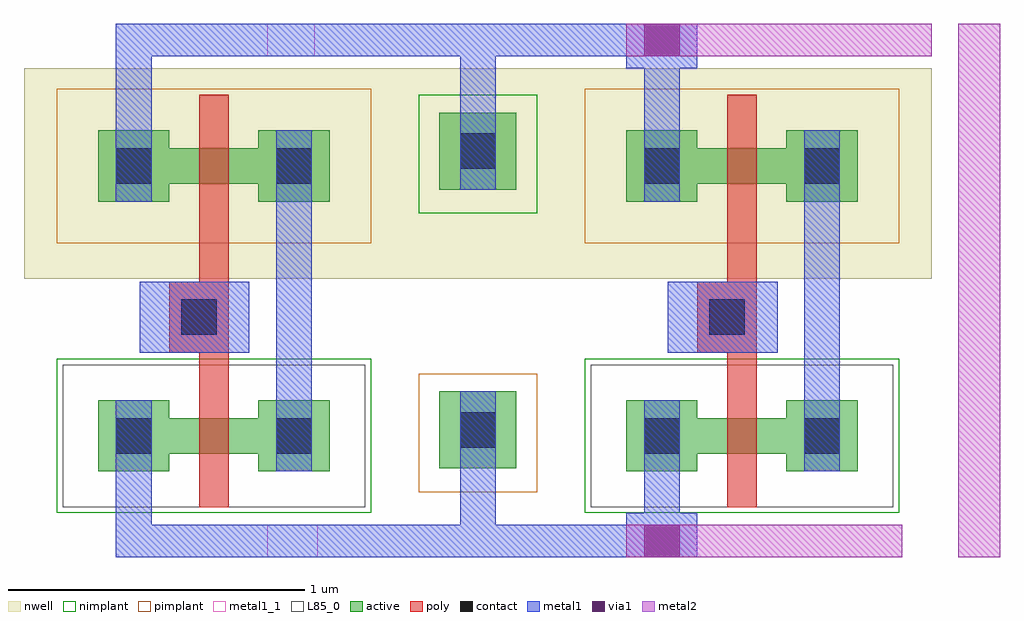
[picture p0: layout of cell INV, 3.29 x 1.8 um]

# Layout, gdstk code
import gdstk
lib = gdstk.Library(unit=1e-6, precision=5e-10)
def R(c, l, rs):  # rectangles x0, y0, x1, y1
    for r in rs: c.add(gdstk.rectangle(r[:2], r[2:], *l))
def A(c, l, x, y, w, h, nx, ny, dx, dy):  # array of equal rectangles
    R(c, l, [(x+i*dx, y+j*dy, x+i*dx+w, y+j*dy+h) for i in range(nx) for j in range(ny)])
active = (1, 0)
nwell = (2, 0)
poly = (3, 0)
nimplant = (4, 0)
pimplant = (5, 0)
contact = (6, 0)
metal1 = (7, 0)
metal1_1 = (7, 1)
via1 = (8, 0)
metal2 = (9, 0)
L85_0 = (85, 0)

nmos1v_0 = lib.new_cell('nmos1v_0')
A(nmos1v_0, active, -0.1, 0, 0.1, 0.12, 3, 1, 0.1, 0)
R(nmos1v_0, active, [(-0.34,-0.06,-0.1,0.18), (0.2,-0.06,0.44,0.18)])
R(nmos1v_0, poly, [(0,-0.18,0.1,-0.16), (0,-0.16,0.1,0), (0,0,0.1,0.12), (0,0.12,0.1,0.28), (0,0.28,0.1,0.3)])
R(nmos1v_0, nimplant, [(-0.48,-0.2,0.58,0.32), (-0.18,-0.18,0.28,0.3)])
R(nmos1v_0, contact, [(-0.28,0,-0.16,0.12), (0.26,0,0.38,0.12)])
R(nmos1v_0, metal1, [(-0.28,-0.06,-0.16,0.18), (0.26,-0.06,0.38,0.18)])
R(nmos1v_0, L85_0, [(-0.46,-0.18,0.56,0.3)])

pmos1v_1 = lib.new_cell('pmos1v_1')
A(pmos1v_1, active, -0.1, 0, 0.1, 0.12, 3, 1, 0.1, 0)
R(pmos1v_1, active, [(-0.34,-0.06,-0.1,0.18), (0.2,-0.06,0.44,0.18)])
R(pmos1v_1, nwell, [(-0.46,-0.18,0.56,0.3)])
R(pmos1v_1, poly, [(0,-0.18,0.1,-0.16), (0,-0.16,0.1,0), (0,0,0.1,0.12), (0,0.12,0.1,0.28), (0,0.28,0.1,0.3)])
R(pmos1v_1, pimplant, [(-0.48,-0.2,0.58,0.32), (-0.18,-0.18,0.28,0.3)])
R(pmos1v_1, contact, [(-0.28,0,-0.16,0.12), (0.26,0,0.38,0.12)])
R(pmos1v_1, metal1, [(-0.28,-0.06,-0.16,0.18), (0.26,-0.06,0.38,0.18)])

inv = lib.new_cell('INV')
R(inv, active, [(-1.08,1.19,-0.82,1.45), (-1.08,2.13,-0.82,2.39)])
R(inv, nwell, [(-2.48,1.83,-0.7,2.54), (-0.7,1.83,0.58,2.54)])
R(inv, poly, [(-1.99,1.58,-1.79,1.82), (-0.21,1.58,-0.01,1.82)])
R(inv, nimplant, [(-1.15,2.05,-0.75,2.45)])
R(inv, pimplant, [(-1.15,1.11,-0.75,1.51)])
R(inv, contact, [(-1.01,1.26,-0.89,1.38), (-1.95,1.64,-1.83,1.76), (-0.17,1.64,-0.05,1.76), (-1.01,2.2,-0.89,2.32)])
R(inv, metal1, [(-2.17,0.89,-0.21,1), (-0.45,0.89,-0.21,1.04), (-2.09,1.58,-1.72,1.82), (-0.31,1.58,0.06,1.82), (-0.45,2.54,-0.21,2.69), (-2.17,2.58,-0.21,2.69)])
R(inv, metal1_1, [(-1.66,0.89,-1.49,1), (-1.66,2.58,-1.5,2.69)])
R(inv, via1, [(-0.39,0.89,-0.27,1), (-0.39,2.58,-0.27,2.69)])
R(inv, metal2, [(-0.45,0.89,0.48,1), (-0.45,2.58,0.58,2.69)])
inv.add(gdstk.FlexPath([(-0.06,2.03),(-0.06,1.4)], 0.1, ends="flush", simple_path=True, layer=3, datatype=0))  # poly
inv.add(gdstk.FlexPath([(-1.84,2.03),(-1.84,1.4)], 0.1, ends="flush", simple_path=True, layer=3, datatype=0))  # poly
inv.add(gdstk.FlexPath([(0.21,2.22),(0.21,1.33)], 0.12, ends="flush", simple_path=True, layer=7, datatype=0))  # metal1
inv.add(gdstk.FlexPath([(-0.33,1.31),(-0.33,0.89)], 0.12, ends="flush", simple_path=True, layer=7, datatype=0))  # metal1
inv.add(gdstk.FlexPath([(-0.33,2.25),(-0.33,2.69)], 0.12, ends="flush", simple_path=True, layer=7, datatype=0))  # metal1
inv.add(gdstk.FlexPath([(-2.11,1.31),(-2.11,0.89)], 0.12, ends="flush", simple_path=True, layer=7, datatype=0))  # metal1
inv.add(gdstk.FlexPath([(-2.11,2.25),(-2.11,2.69)], 0.12, ends="flush", simple_path=True, layer=7, datatype=0))  # metal1
inv.add(gdstk.FlexPath([(-1.57,2.22),(-1.57,1.33)], 0.12, ends="flush", simple_path=True, layer=7, datatype=0))  # metal1
inv.add(gdstk.FlexPath([(-0.95,1.45),(-0.95,0.89)], 0.12, ends="flush", simple_path=True, layer=7, datatype=0))  # metal1
inv.add(gdstk.FlexPath([(-0.95,2.13),(-0.95,2.69)], 0.12, ends="flush", simple_path=True, layer=7, datatype=0))  # metal1
inv.add(gdstk.FlexPath([(0.74,2.69),(0.74,0.89)], 0.14, ends="flush", simple_path=True, layer=9, datatype=0))  # metal2
inv.add(gdstk.Reference(nmos1v_0, (-0.11,1.24)))
inv.add(gdstk.Reference(nmos1v_0, (-1.89,1.24)))
inv.add(gdstk.Reference(pmos1v_1, (-0.11,2.15)))
inv.add(gdstk.Reference(pmos1v_1, (-1.89,2.15)))
inv.add(gdstk.Label('vddp', (-1.63,2.88), layer=63, texttype=0))
inv.add(gdstk.Label('vss', (-1.58,0.79), layer=63, texttype=0))

lib.write_gds('INV.gds')
